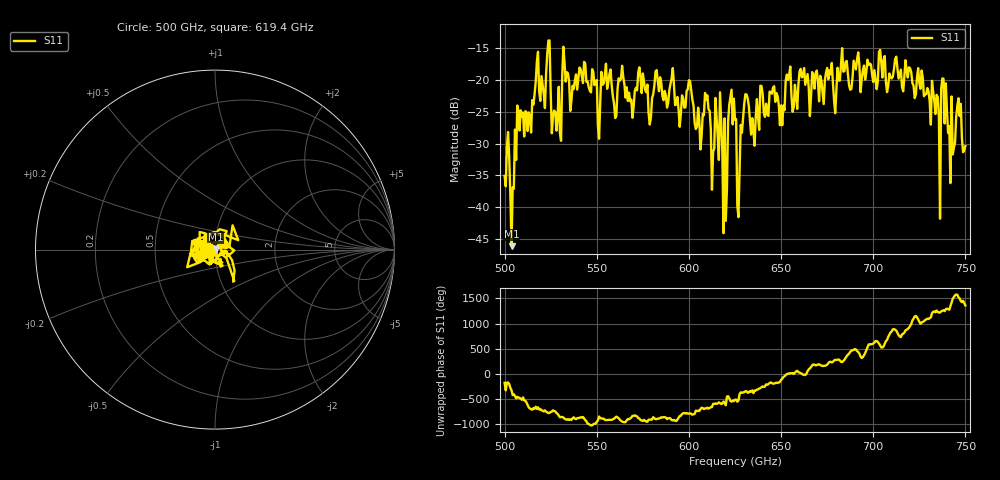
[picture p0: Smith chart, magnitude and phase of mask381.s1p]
!Created with skrf (http://scikit-rf.org).
# GHz S MA R 50.0
!freq magS11 angS11
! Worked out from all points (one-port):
!   401 points, 500 GHz to 750 GHz, reference 50 ohm
!   lowest |S11| = -46.2 dB at 503.8 GHz (marker M1), VSWR 1.01, Z = 50.4 + j0.275 ohm
!   |S11| at or under -10 dB: start of sweep to end of sweep
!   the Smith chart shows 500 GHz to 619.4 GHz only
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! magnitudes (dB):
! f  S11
! 500 GHz  -35.1
! 503.8 GHz  -46.2
! 508.1 GHz  -27.9
! 513.8 GHz  -25.8
! 517.5 GHz  -17.1
! 523.8 GHz  -13.8
! 526.9 GHz  -24.8
! 531.2 GHz  -19.4
! 560 GHz  -26.0
! 562.5 GHz  -20.1
! 593.8 GHz  -22.6
! 610 GHz  -22.4
! 612.5 GHz  -37.3
! 616.2 GHz  -32.6
! 619.4 GHz  -26.0
! 622.5 GHz  -22.7
! 625 GHz  -26.3
! 627.5 GHz  -33.9
! 631.2 GHz  -22.3
! 634.4 GHz  -26.0
! 656.2 GHz  -25.0
! 687.5 GHz  -21.5
! 718.8 GHz  -19.6
! 735 GHz  -22.7
! 738.1 GHz  -19.8
! 743.1 GHz  -31.7
! 746.2 GHz  -22.9
! 750 GHz  -30.4
